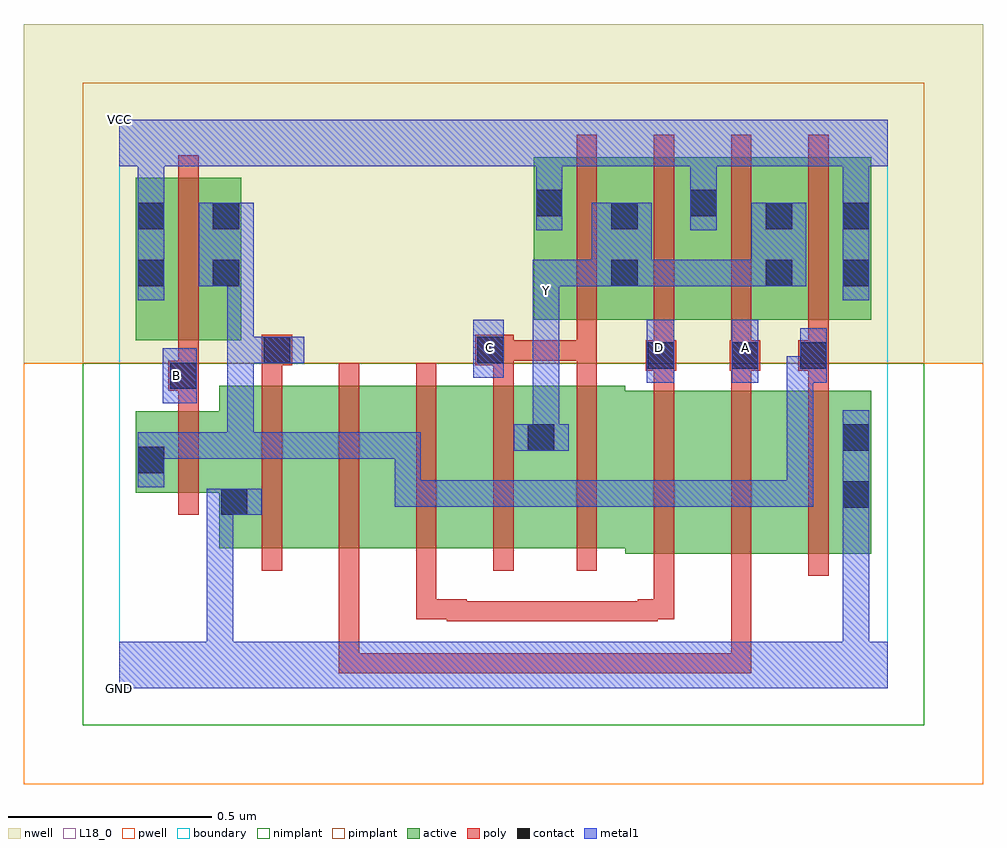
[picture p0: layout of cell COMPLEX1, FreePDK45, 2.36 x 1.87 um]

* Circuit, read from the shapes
.subckt COMPLEX1 A B C D GND VCC Y
M1 GND B n1 VSUBS nfet w=0.2u l=0.05u
M2 n2 n1 GND VSUBS nfet w=0.4u l=0.05u
M3 n3 A n2 VSUBS nfet w=0.4u l=0.05u
M4 n4 D n3 VSUBS nfet w=0.4u l=0.05u
M5 Y C n4 VSUBS nfet w=0.4u l=0.05u
M6 n5 C Y VSUBS nfet w=0.4u l=0.05u
M7 n6 D n5 VSUBS nfet w=0.4u l=0.05u
M8 n7 A n6 VSUBS nfet w=0.4u l=0.05u
M9 GND n1 n7 VSUBS nfet w=0.4u l=0.05u
M10 n1 B VCC n8 pfet w=0.4u l=0.05u
M11 Y C VCC n8 pfet w=0.4u l=0.05u
M12 VCC D Y n8 pfet w=0.4u l=0.05u
M13 Y A VCC n8 pfet w=0.4u l=0.05u
M14 VCC n1 Y n8 pfet w=0.4u l=0.05u
.ends

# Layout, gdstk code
import gdstk
lib = gdstk.Library(unit=1e-6, precision=1e-09)
def R(c, l, rs):  # rectangles x0, y0, x1, y1
    for r in rs: c.add(gdstk.rectangle(r[:2], r[2:], *l))
def A(c, l, x, y, w, h, nx, ny, dx, dy):  # array of equal rectangles
    R(c, l, [(x+i*dx, y+j*dy, x+i*dx+w, y+j*dy+h) for i in range(nx) for j in range(ny)])
active = (1, 0)
pwell = (2, 0)
nwell = (3, 0)
nimplant = (4, 0)
pimplant = (5, 0)
poly = (9, 0)
contact = (10, 0)
metal1 = (11, 0)
L18_0 = (18, 0)
boundary = (235, 0)

complex1 = lib.new_cell('COMPLEX1')
R(complex1, active, [(1.245,0.332,1.435,0.732), (1.435,0.332,1.625,0.732), (1.625,0.332,1.85,0.732), (1.775,0.332,1.85,0.732), (0.245,0.345,0.47,0.745), (0.245,0.345,0.32,0.597), (0.47,0.345,0.66,0.745), (0.66,0.345,0.85,0.745), (0.85,0.345,1.075,0.745), (1,0.345,1.245,0.745), (1,0.345,1.075,0.742), (0.04,0.482,0.32,0.682), (0.04,0.525,0.115,0.682), (0.04,0.857,0.3,1.257), (0.04,0.857,0.115,1.255), (0.225,0.857,0.3,1.2), (1.02,0.907,1.095,1.307), (1.02,0.907,1.28,1.307), (1.205,0.907,1.28,1.2), (1.205,0.907,1.475,1.307), (1.4,0.907,1.475,1.307), (1.4,0.907,1.66,1.307), (1.585,0.907,1.85,1.307), (1.585,0.907,1.66,1.2), (1.775,0.907,1.85,1.307)])
R(complex1, pwell, [(-0.235,-0.235,2.125,0.8)])
R(complex1, nwell, [(-0.235,0.8,2.125,1.635)])
R(complex1, nimplant, [(-0.09,-0.09,1.98,0.8)])
R(complex1, pimplant, [(-0.09,0.8,1.98,1.49)])
A(complex1, poly, 1.315, 0.277, 0.05, 0.51, 3, 1, 0.19, 0)
A(complex1, poly, 0.35, 0.29, 0.05, 0.51, 4, 1, 0.19, 0)
A(complex1, poly, 1.315, 0.737, 0.05, 0.095, 3, 1, 0.19, 0)
A(complex1, poly, 1.125, 0.807, 0.05, 0.095, 4, 1, 0.19, 0)
A(complex1, poly, 1.125, 0.852, 0.05, 0.51, 4, 1, 0.19, 0)
R(complex1, poly, [(0.54,0.037,0.59,0.087), (0.54,0.037,0.59,0.087), (0.54,0.037,0.59,0.087), (0.54,0.037,0.59,0.087), (0.54,0.037,0.59,0.087), (0.54,0.037,0.722,0.087), (0.54,0.037,0.59,0.34), (0.672,0.037,0.722,0.087), (0.672,0.037,0.722,0.087), (0.672,0.037,0.722,0.087), (0.672,0.037,1.042,0.087), (0.992,0.037,1.042,0.087), (0.992,0.037,1.042,0.087), (0.992,0.037,1.042,0.087), (0.992,0.037,1.212,0.087), (1.162,0.037,1.212,0.087), (1.162,0.037,1.42,0.087), (1.37,0.037,1.42,0.087), (1.37,0.037,1.42,0.087), (1.37,0.037,1.42,0.087), (1.37,0.037,1.555,0.087), (1.505,0.037,1.555,0.327), (1.505,0.037,1.555,0.087), (1.505,0.037,1.555,0.087), (1.505,0.037,1.555,0.087), (1.505,0.037,1.555,0.087), (1.505,0.037,1.555,0.087), (0.805,0.165,0.855,0.22), (0.805,0.165,1.042,0.215), (0.992,0.165,1.042,0.215), (0.992,0.165,1.062,0.215), (1.012,0.165,1.062,0.215), (1.012,0.165,1.175,0.215), (1.125,0.165,1.175,0.215), (1.125,0.165,1.325,0.215), (1.275,0.165,1.325,0.22), (0.73,0.17,0.78,0.22), (0.73,0.17,0.855,0.22), (0.73,0.17,0.78,0.34), (1.275,0.17,1.365,0.22), (1.315,0.17,1.365,0.22), (1.315,0.17,1.365,0.327), (1.125,0.29,1.175,0.8), (0.145,0.427,0.195,0.737), (0.145,0.687,0.195,0.782), (0.12,0.732,0.195,0.807), (0.35,0.75,0.4,0.845), (0.92,0.75,0.97,0.845), (1.125,0.75,1.175,0.857), (0.145,0.757,0.195,0.852), (1.295,0.782,1.37,0.857), (1.502,0.782,1.577,0.857), (1.67,0.782,1.745,0.857), (0.35,0.795,0.425,0.87), (0.875,0.795,0.97,0.87), (0.145,0.802,0.195,1.312), (0.92,0.807,1.175,0.857), (1.125,0.807,1.175,0.857), (1.125,0.807,1.175,0.857), (1.125,0.807,1.175,0.857)])
R(complex1, contact, [(0.25,0.427,0.315,0.492), (1.78,0.445,1.845,0.51), (0.045,0.53,0.11,0.595), (1.005,0.585,1.07,0.65), (1.78,0.585,1.845,0.65), (0.125,0.737,0.19,0.802), (1.3,0.787,1.365,0.852), (1.507,0.787,1.572,0.852), (1.675,0.787,1.74,0.852), (0.355,0.8,0.42,0.865), (0.88,0.8,0.945,0.865), (0.045,0.99,0.11,1.055), (0.23,0.99,0.295,1.055), (1.21,0.99,1.275,1.055), (1.59,0.99,1.655,1.055), (1.78,0.99,1.845,1.055), (0.045,1.13,0.11,1.195), (0.23,1.13,0.295,1.195), (1.21,1.13,1.275,1.195), (1.59,1.13,1.655,1.195), (1.78,1.13,1.845,1.195), (1.025,1.162,1.09,1.227), (1.405,1.162,1.47,1.227)])
R(complex1, metal1, [(0,0,1.89,0.115), (0.215,0.05,0.28,0.115), (0.215,0.05,0.28,0.115), (0.215,0.05,0.28,0.115), (0.215,0.05,0.28,0.115), (0.215,0.05,0.28,0.492), (1.78,0.05,1.845,0.475), (1.78,0.41,1.845,0.685), (1.78,0.41,1.845,0.475), (1.78,0.41,1.845,0.475), (1.78,0.41,1.845,0.475), (1.78,0.41,1.845,0.475), (0.215,0.427,0.35,0.492), (0.677,0.447,0.742,0.512), (0.677,0.447,0.88,0.512), (0.677,0.447,0.742,0.63), (0.815,0.447,0.88,0.512), (0.815,0.447,1.082,0.512), (1.017,0.447,1.082,0.512), (1.017,0.447,1.082,0.512), (1.017,0.447,1.082,0.512), (1.017,0.447,1.3,0.512), (1.235,0.447,1.3,0.512), (1.235,0.447,1.3,0.512), (1.235,0.447,1.3,0.512), (1.235,0.447,1.3,0.512), (1.235,0.447,1.3,0.512), (1.235,0.447,1.447,0.512), (1.382,0.447,1.447,0.512), (1.382,0.447,1.447,0.512), (1.382,0.447,1.447,0.512), (1.382,0.447,1.707,0.512), (1.642,0.447,1.707,0.512), (1.642,0.447,1.707,0.817), (0.045,0.495,0.11,0.63), (0.045,0.565,0.247,0.63), (0.182,0.565,0.247,0.63), (0.182,0.565,0.33,0.63), (0.265,0.565,0.33,0.63), (0.265,0.565,0.467,0.63), (0.265,0.565,0.33,0.865), (0.402,0.565,0.467,0.63), (0.402,0.565,0.467,0.63), (0.402,0.565,0.467,0.63), (0.402,0.565,0.605,0.63), (0.54,0.565,0.605,0.63), (0.54,0.565,0.605,0.63), (0.54,0.565,0.605,0.63), (0.54,0.565,0.742,0.63), (0.677,0.565,0.742,0.63), (0.677,0.565,0.742,0.63), (0.677,0.565,0.742,0.63), (0.97,0.585,1.105,0.65), (1.017,0.585,1.082,0.977), (0.107,0.702,0.19,0.837), (1.297,0.752,1.365,0.907), (1.507,0.752,1.572,0.907), (1.642,0.752,1.707,0.817), (1.642,0.752,1.74,0.817), (1.675,0.752,1.74,0.887), (0.87,0.765,0.945,0.907), (0.265,0.8,0.33,0.865), (0.265,0.8,0.385,0.865), (0.265,0.8,0.33,1.055), (0.32,0.8,0.455,0.865), (1.017,0.912,1.082,1.055), (0.045,0.955,0.11,1.23), (1.78,0.955,1.845,1.23), (0.195,0.99,0.33,1.195), (1.017,0.99,1.1,1.055), (1.035,0.99,1.1,1.055), (1.035,0.99,1.227,1.055), (1.162,0.99,1.227,1.055), (1.162,0.99,1.227,1.055), (1.162,0.99,1.31,1.195), (1.245,0.99,1.31,1.055), (1.245,0.99,1.31,1.055), (1.245,0.99,1.482,1.055), (1.417,0.99,1.482,1.055), (1.417,0.99,1.482,1.055), (1.417,0.99,1.482,1.055), (1.417,0.99,1.62,1.055), (1.555,0.99,1.69,1.195), (1.025,1.127,1.09,1.262), (1.405,1.127,1.47,1.262), (0.045,1.165,0.11,1.35), (1.78,1.165,1.845,1.35), (1.025,1.197,1.09,1.35), (1.405,1.197,1.47,1.35), (0,1.285,1.89,1.4)])
R(complex1, L18_0, [(0,0,1.89,0.115), (0.215,0.05,0.28,0.115), (0.215,0.05,0.28,0.115), (0.215,0.05,0.28,0.115), (0.215,0.05,0.28,0.115), (0.215,0.05,0.28,0.492), (1.78,0.05,1.845,0.475), (1.78,0.41,1.845,0.685), (1.78,0.41,1.845,0.475), (1.78,0.41,1.845,0.475), (1.78,0.41,1.845,0.475), (1.78,0.41,1.845,0.475), (0.215,0.427,0.35,0.492), (0.97,0.585,1.105,0.65), (1.017,0.585,1.082,0.977), (0.107,0.702,0.19,0.837), (0.107,0.737,0.172,0.802), (1.297,0.752,1.365,0.907), (1.507,0.752,1.572,0.907), (0.87,0.765,0.945,0.907), (0.877,0.807,0.942,0.872), (1.297,0.807,1.362,0.872), (1.507,0.807,1.572,0.872), (1.017,0.912,1.082,1.055), (1.017,0.947,1.082,1.012), (0.045,0.955,0.11,1.23), (1.78,0.955,1.845,1.23), (1.017,0.99,1.1,1.055), (1.035,0.99,1.1,1.055), (1.035,0.99,1.227,1.055), (1.162,0.99,1.227,1.055), (1.162,0.99,1.227,1.055), (1.162,0.99,1.31,1.195), (1.245,0.99,1.31,1.055), (1.245,0.99,1.31,1.055), (1.245,0.99,1.482,1.055), (1.417,0.99,1.482,1.055), (1.417,0.99,1.482,1.055), (1.417,0.99,1.482,1.055), (1.417,0.99,1.62,1.055), (1.555,0.99,1.69,1.195), (1.025,1.127,1.09,1.262), (1.405,1.127,1.47,1.262), (0.045,1.165,0.11,1.35), (1.78,1.165,1.845,1.35), (1.025,1.197,1.09,1.35), (1.405,1.197,1.47,1.35), (0,1.285,1.89,1.4)])
R(complex1, boundary, [(0,0,1.89,1.4)])
complex1.add(gdstk.Label('A', (1.54,0.84), layer=11, texttype=0))
complex1.add(gdstk.Label('B', (0.14,0.77), layer=11, texttype=0))
complex1.add(gdstk.Label('C', (0.91,0.84), layer=11, texttype=0))
complex1.add(gdstk.Label('D', (1.33,0.84), layer=11, texttype=0))
complex1.add(gdstk.Label('Y', (1.05,0.98), layer=11, texttype=0))
complex1.add(gdstk.Label('VCC', (0,1.4), layer=11, texttype=0))
complex1.add(gdstk.Label('GND', (0,0), layer=11, texttype=0))

lib.write_gds('COMPLEX1.gds')
